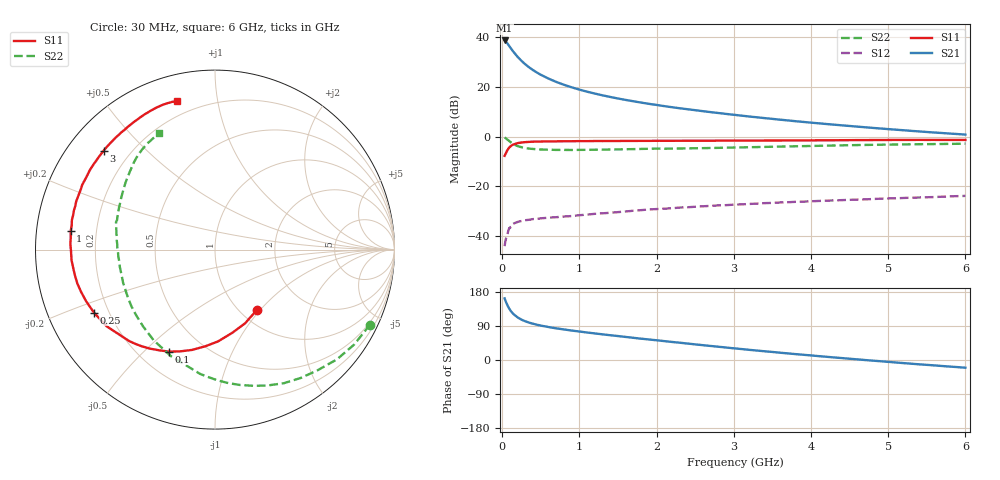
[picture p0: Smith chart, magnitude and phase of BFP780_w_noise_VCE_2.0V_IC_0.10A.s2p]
! Infineon Technologies  Discrete & RF Semiconductors
! BFP780
! VCE =  2.0 V,  IC = 0.10 A
! Common Emitter S-Parameters:  Jul 2015
# GHz  S  MA  R  50
!  f  S11  S21  S12  S22
! GHz  MAG  ANG  MAG  ANG  MAG  ANG  MAG  ANG
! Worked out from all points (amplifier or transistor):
!   75 points, 30 MHz to 6 GHz, reference 50 ohm
!   highest |S21| = 38.7 dB at 30 MHz (marker M1)
!   |S21| within 3 dB of that: start of sweep to 107.2 MHz
!   unconditionally stable (mu >= 1): 1.741 GHz to end of sweep
!   at 150 MHz: K = 0.16, MSG = 34.5 dB, |S12| = -35.0 dB
!   at 2.3 GHz: K = 1.11, MAG = 18.0 dB, |S12| = -28.6 dB
!   at 6 GHz: K = 1.35, MAG = 8.8 dB, |S12| = -23.9 dB
!   lowest NFmin = 2.08 dB at 450 MHz
!   S11 on the Smith chart (normalised r, x): 30 MHz: 1.19, -0.96; 100 MHz: 0.32, -0.60; 250 MHz: 0.14, -0.24; 1 GHz: 0.11, +0.06; 3 GHz: 0.11, +0.38; 6 GHz: 0.12, +0.77
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0.03  0.4092 -55.0  86.41 162.5  0.0062 74.4  0.9599 -25.8
0.05  0.4739 -78.4  80.51 151.9  0.0091 71.5  0.9145 -41.9
0.06  0.5122 -88.2  77.27 147.4  0.0099 56.3  0.8829 -49.5
0.08  0.5734 -102.9  70.3 139.1  0.0129 52.9  0.8375 -62.7
0.1  0.6234 -114.3  63.45 132.4  0.0144 48.3  0.7887 -74.2
0.12  0.6605 -123.4  57.39 126.8  0.0159 43.9  0.7475 -84.3
0.15  0.6991 -133.3  49.8 120.3  0.0178 37.4  0.6977 -96.8
0.2  0.7396 -144.7  40.16 112.2  0.0191 34.0  0.642 -112.6
0.25  0.7604 -152.5  33.44 106.4  0.02 28.9  0.6096 -124.2
0.3  0.7738 -158.3  28.4 102.0  0.0207 27.8  0.5863 -133.1
0.35  0.7829 -162.7  24.66 98.4  0.0211 26.0  0.5719 -140.0
0.5  0.7954 -171.6  17.56 90.8  0.0226 24.6  0.5494 -154.1
0.7  0.8022 -179.3  12.61 83.5  0.0238 24.5  0.539 -165.5
1  0.8106 172.7  8.836 75.1  0.0261 26.1  0.5401 -175.9
1.1  0.8097 170.4  8.012 72.5  0.0268 26.9  0.5406 -178.7
1.5  0.8154 162.7  5.847 63.2  0.0301 28.5  0.5515 172.8
2.1  0.8226 152.5  4.106 49.8  0.0353 28.7  0.57 163.2
3  0.8302 138.4  2.75 30.8  0.0425 25.8  0.6016 149.4
3.1  0.8306 137.1  2.641 28.9  0.0431 25.4  0.606 148.0
4.1  0.8411 123.3  1.851 10.2  0.0505 20.8  0.6517 135.5
5.1  0.8559 112.4  1.377 -6.6  0.0572 15.5  0.6928 125.0
6  0.8562 104.4  1.097 -20.4  0.0638 10.3  0.7188 115.5
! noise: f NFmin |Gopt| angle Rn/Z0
0.45  2.08  0.55  -177  0.08
0.9  2.13  0.57  -165  0.09
1.5  2.18  0.58  -158  0.11
1.8  2.37  0.58  -154  0.13
2.4  2.5  0.61  -143  0.2
3  2.79  0.65  -132  0.28
3.5  3.26  0.67  -121  0.43
